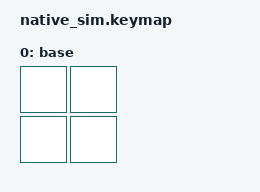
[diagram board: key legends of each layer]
/*
 * Copyright (c) 2026 amgskobo
 * SPDX-License-Identifier: MIT
 *
 * The ready-made nodes from input_processor_runtime.dtsi, referenced the way a
 * board references them, with their settings published: every one has to
 * build with keys that fit, start at the defaults the README documents, and
 * carry events as documented.
 *
 *   t=100  pointer X 5    xy scaler 1/1, xy transform none     5/0
 *   t=120  pointer Y -4                                         0/-4
 *   t=200  scroll Y 3     mapped to WHEEL, scroll scaler 1/1,
 *                         scroll transform none                 scroll 0/3
 *   t=220  scroll X 2     mapped to HWHEEL                      scroll 2/0
 */

#include <behaviors.dtsi>
#include <physical_layouts.dtsi>
#include <dt-bindings/zmk/keys.h>
#include <dt-bindings/zmk/kscan_mock.h>
#include <dt-bindings/zmk/matrix_transform.h>
#include <zephyr/dt-bindings/input/input-event-codes.h>
#include <zmk-input-processors/input_processor_runtime.dtsi>

/ {
    physical_layout {
        compatible = "zmk,physical-layout";
        display-name = "Test";
        transform = <&transform>;
        keys = <&key_physical_attrs 100 100 0 0 0 0 0>,
               <&key_physical_attrs 100 100 100 0 0 0 0>,
               <&key_physical_attrs 100 100 0 100 0 0 0>,
               <&key_physical_attrs 100 100 100 100 0 0 0>;
    };

    transform: transform {
        compatible = "zmk,matrix-transform";
        rows = <2>;
        columns = <2>;
        map = <RC(0,0) RC(0,1) RC(1,0) RC(1,1)>;
    };

    keymap {
        compatible = "zmk,keymap";

        base {
            bindings = <&none &none &none &none>;
        };
    };

    pointer_mock: pointer_mock {
        compatible = "zmk,input-mock";
        event-startup-delay = <100>;
        event-period = <20>;
        events = <INPUT_EV_REL INPUT_REL_X 5 1
                  INPUT_EV_REL INPUT_REL_Y (-4) 1>;
    };

    scroll_mock: scroll_mock {
        compatible = "zmk,input-mock";
        event-startup-delay = <200>;
        event-period = <20>;
        events = <INPUT_EV_REL INPUT_REL_Y 3 1
                  INPUT_EV_REL INPUT_REL_X 2 1>;
    };

    pointer_listener {
        compatible = "zmk,input-listener";
        device = <&pointer_mock>;
        input-processors = <&zip_runtime_xy_scaler &zip_runtime_xy_transform
                            &zip_runtime_temp_layer>;
    };

    scroll_listener {
        compatible = "zmk,input-listener";
        device = <&scroll_mock>;
        input-processors = <&zip_runtime_scroll_mapper &zip_runtime_scroll_scaler
                            &zip_runtime_scroll_transform>;
    };
};

/* Ends the process after both mocks have finished. */
&kscan {
    events = <ZMK_MOCK_PRESS(0,0,500) ZMK_MOCK_RELEASE(0,0,10)>;
};
